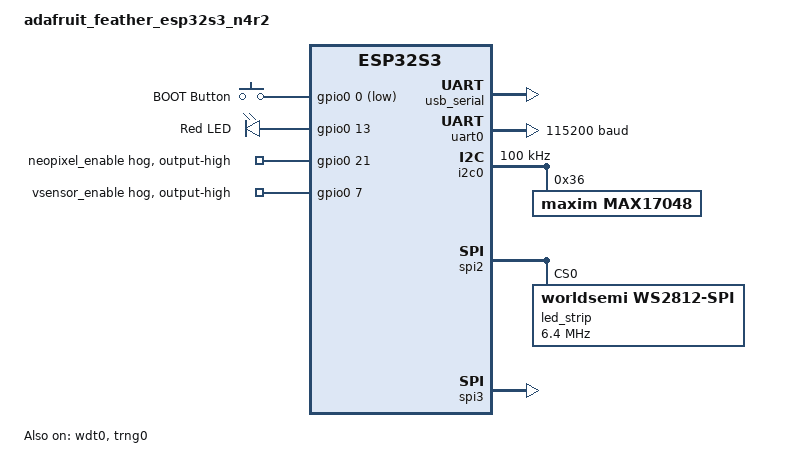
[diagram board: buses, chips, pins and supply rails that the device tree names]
/*
 * Copyright (c) 2023 Helmut Lord
 *
 * SPDX-License-Identifier: Apache-2.0
 */
/dts-v1/;

#include <espressif/esp32s3/esp32s3_mini_n4r2.dtsi>
#include "adafruit_feather_esp32s3_n4r2-pinctrl.dtsi"
#include <zephyr/dt-bindings/input/input-event-codes.h>

#include <zephyr/dt-bindings/gpio/gpio.h>
#include <zephyr/dt-bindings/led/led.h>

/ {
	model = "adafruit_feather_esp32s3_n4r2";
	compatible = "espressif,esp32s3";

	aliases {
		led0 = &red_led;
		sw0 = &button0;
		led-strip = &led_strip;
		watchdog0 = &wdt0;
	};

	chosen {
		zephyr,sram = &sram0;
		zephyr,console = &usb_serial;
		zephyr,shell-uart = &usb_serial;
		zephyr,flash = &flash0;
	};

	buttons {
		compatible = "gpio-keys";
		button0: button_0 {
			gpios = <&gpio0 0 (GPIO_PULL_UP | GPIO_ACTIVE_LOW)>;
			label = "BOOT Button";
			zephyr,code = <INPUT_KEY_0>;
		};
	};

	leds {
		compatible = "gpio-leds";
		red_led: led_0 {
			gpios = <&gpio0 13 GPIO_ACTIVE_HIGH>;
			label = "Red LED";
		};
	};
};

&cpu0 {
	clock-frequency = <ESP32_CLK_CPU_240M>;
};

&cpu1 {
	clock-frequency = <ESP32_CLK_CPU_240M>;
};

&usb_serial {
	status = "okay";
};

&uart0 {
	status = "okay";
	current-speed = <115200>;
	pinctrl-0 = <&uart0_default>;
	pinctrl-names = "default";
};

&gpio0 {
	status = "okay";
	/* This enables the onboard neopixel (WS2812B-2020). */
	neopixel_enable: neopixel_enable {
		gpio-hog;
		gpios = <21 GPIO_ACTIVE_HIGH>;
		output-high;
	};

	/* Because the on-board pull ups of the ESP32S3
	   are somewhat weak, we must enable the external pull ups
	   in order to access the fuel gauge
	*/
	vsensor_enable: vsensor_enable {
		gpio-hog;
		gpios = <7 GPIO_ACTIVE_HIGH>;
		output-high;
	};
};

&gpio1 {
	status = "okay";
};

&i2c0 {
	status = "okay";
	clock-frequency = <I2C_BITRATE_STANDARD>;
	pinctrl-0 = <&i2c0_default>;
	pinctrl-names = "default";

	max17048: max17048@36 {
		status = "okay";
		compatible = "maxim,max17048";
		reg = < 0x36 >;
	};
};

&i2c1 {
	status = "disabled";
};

&spi2 {
	#address-cells = <1>;
	#size-cells = <0>;
	status = "okay";
	pinctrl-0 = <&spim2_default>;
	pinctrl-names = "default";

	line-idle-low;
        led_strip: ws2812@0 {
                compatible = "worldsemi,ws2812-spi";

		status = "okay";
                /* SPI */
                reg = <0>; /* ignored, but necessary for SPI bindings */
                spi-max-frequency = <6400000>;

                /* WS2812 */
                chain-length = <1>; /* arbitrary; change at will */
                spi-cpha;
                spi-one-frame = <0xf0>; /* 11110000: 625 ns high and 625 ns low */
                spi-zero-frame = <0xc0>; /* 11000000: 312.5 ns high and 937.5 ns low */
                color-mapping = <LED_COLOR_ID_GREEN
                                 LED_COLOR_ID_RED
                                 LED_COLOR_ID_BLUE>;
        };
};

&spi3 {
	#address-cells = <1>;
	#size-cells = <0>;
	status = "okay";
	pinctrl-0 = <&spim3_default>;
	pinctrl-names = "default";
};

&twai {
	status = "disabled";
};

&timer0 {
	status = "disabled";
};

&timer1 {
	status = "disabled";
};

&timer2 {
	status = "disabled";
};

&timer3 {
	status = "disabled";
};

&wdt0 {
	status = "okay";
};

&trng0 {
	status = "okay";
};

&flash0 {
	status = "okay";
	partitions {
		compatible = "fixed-partitions";
		#address-cells = <1>;
		#size-cells = <1>;

		/* Reserve 64kB for the bootloader */
		boot_partition: partition@0 {
			label = "mcuboot";
			reg = <0x00000000 0x00010000>;
			read-only;
		};

		/* Reserve 1024kB for the application in slot 0 */
		slot0_partition: partition@10000 {
			label = "image-0";
			reg = <0x00010000 0x00100000>;
		};

		/* Reserve 1024kB for the application in slot 1 */
		slot1_partition: partition@110000 {
			label = "image-1";
			reg = <0x00110000 0x00100000>;
		};

		/* Reserve 256kB for the scratch partition */
		scratch_partition: partition@210000 {
			   label = "image-scratch";
			   reg = <0x00210000 0x00040000>;
		};

		storage_partition: partition@250000 {
			label = "storage";
			reg = <0x00250000 0x00006000>;
		};
	};
};
